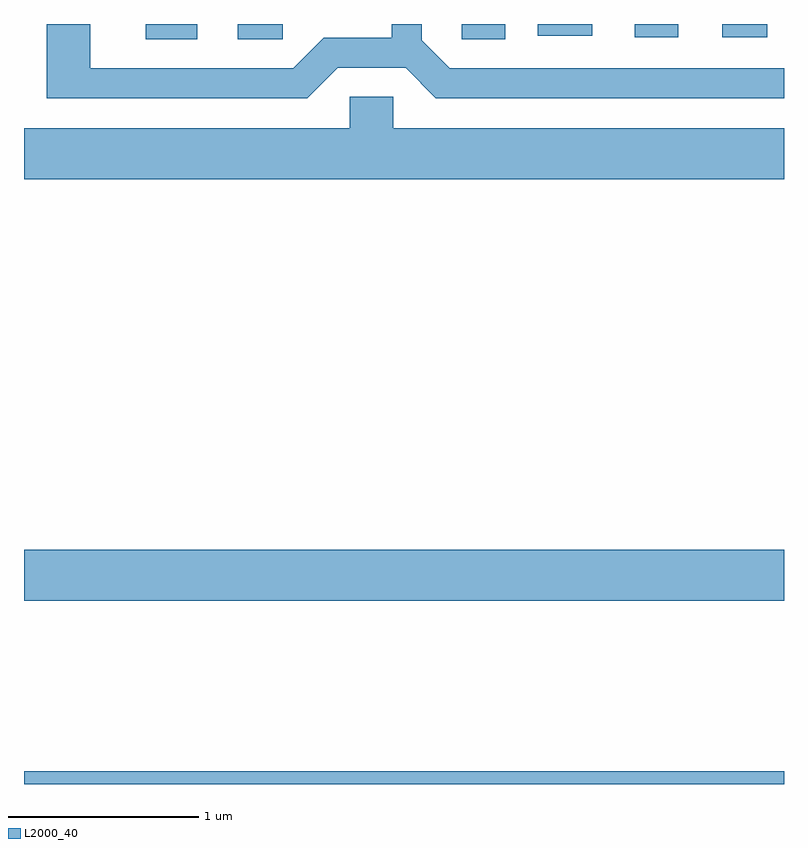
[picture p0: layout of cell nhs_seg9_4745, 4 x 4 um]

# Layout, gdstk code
import gdstk
lib = gdstk.Library(unit=1e-6, precision=1e-09)
def R(c, l, rs):  # rectangles x0, y0, x1, y1
    for r in rs: c.add(gdstk.rectangle(r[:2], r[2:], *l))
def P(c, l, *ps):  # polygons
    for p in ps: c.add(gdstk.Polygon(p, *l))
L2000_40 = (2000, 40)

nhs_seg9_4745 = lib.new_cell('nhs_seg9_4745')
R(nhs_seg9_4745, L2000_40, [(325.611,1966.432,329.611,1966.499), (325.611,1967.396,329.611,1967.664), (326.251,1970.351,326.523,1970.432), (326.736,1970.351,326.973,1970.432), (327.916,1970.351,328.144,1970.432), (328.826,1970.361,329.054,1970.432), (329.286,1970.361,329.523,1970.432), (328.316,1970.371,328.603,1970.432)])
P(nhs_seg9_4745, L2000_40, [(327.262,1970.201),(327.619,1970.201),(327.779,1970.041),(329.611,1970.041),(329.611,1970.199),(327.852,1970.199),(327.704,1970.347),(327.704,1970.432),(327.546,1970.432),(327.546,1970.359),(327.189,1970.359),(327.029,1970.199),(325.959,1970.199),(325.959,1970.432),(325.731,1970.432),(325.731,1970.041),(327.102,1970.041)],
  [(329.611,1969.884),(327.554,1969.884),(327.554,1970.049),(327.326,1970.049),(327.326,1969.884),(325.611,1969.884),(325.611,1969.616),(329.611,1969.616)])

lib.write_gds('nhs_seg9_4745.gds')
